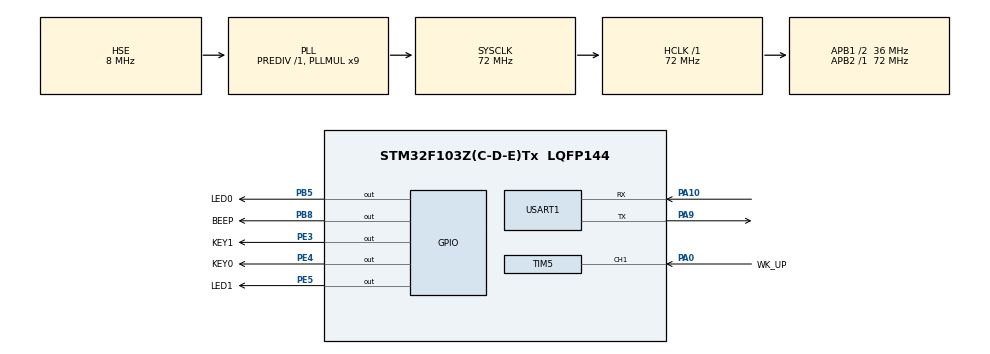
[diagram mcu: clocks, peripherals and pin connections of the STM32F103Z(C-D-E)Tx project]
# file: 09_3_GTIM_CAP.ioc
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Mcu.Family=STM32F1
Mcu.Name=STM32F103Z(C-D-E)Tx
Mcu.Package=LQFP144
NVIC.PriorityGroup=NVIC_PRIORITYGROUP_2
NVIC.TIM5_IRQn=true\:2\:1\:true\:false\:true\:true\:true\:true
NVIC.USART1_IRQn=true\:2\:2\:true\:false\:true\:true\:true\:true
OSC_IN.Mode=HSE-External-Oscillator
OSC_IN.Signal=RCC_OSC_IN
OSC_OUT.Mode=HSE-External-Oscillator
OSC_OUT.Signal=RCC_OSC_OUT
PA0-WKUP.GPIO_Label=WK_UP
PA0-WKUP.GPIO_PuPd=GPIO_PULLDOWN
PA0-WKUP.Signal=S_TIM5_CH1
PA10.Mode=Asynchronous
PA10.Signal=USART1_RX
PA13.Mode=Serial_Wire
PA13.Signal=SYS_JTMS-SWDIO
PA14.Mode=Serial_Wire
PA14.Signal=SYS_JTCK-SWCLK
PA9.Mode=Asynchronous
PA9.Signal=USART1_TX
PB5.GPIO_Label=LED0
PB5.GPIO_PuPd=GPIO_PULLUP
PB5.GPIO_Speed=GPIO_SPEED_FREQ_HIGH
PB5.PinState=GPIO_PIN_SET
PB5.Signal=GPIO_Output
PB8.GPIO_Label=BEEP
PB8.GPIO_ModeDefaultOutputPP=GPIO_MODE_OUTPUT_PP
PB8.GPIO_PuPd=GPIO_PULLDOWN
PB8.GPIO_Speed=GPIO_SPEED_FREQ_HIGH
PB8.PinState=GPIO_PIN_RESET
PB8.Signal=GPIO_Output
PC14-OSC32_IN.Mode=LSE-External-Oscillator
PC14-OSC32_IN.Signal=RCC_OSC32_IN
PC15-OSC32_OUT.Mode=LSE-External-Oscillator
PC15-OSC32_OUT.Signal=RCC_OSC32_OUT
PE3.GPIO_Label=KEY1
PE3.GPIO_PuPd=GPIO_PULLUP
PE3.GPIO_Speed=GPIO_SPEED_FREQ_HIGH
PE3.PinState=GPIO_PIN_SET
PE3.Signal=GPIO_Output
PE4.GPIO_Label=KEY0
PE4.GPIO_PuPd=GPIO_PULLUP
PE4.GPIO_Speed=GPIO_SPEED_FREQ_HIGH
PE4.PinState=GPIO_PIN_SET
PE4.Signal=GPIO_Output
PE5.GPIO_Label=LED1
PE5.GPIO_PuPd=GPIO_PULLUP
PE5.GPIO_Speed=GPIO_SPEED_FREQ_HIGH
PE5.PinState=GPIO_PIN_SET
PE5.Signal=GPIO_Output
ProjectManager.HeapSize=0x200
ProjectManager.StackSize=0x400
ProjectManager.TargetToolchain=STM32CubeIDE
RCC.AHBFreq_Value=72000000
RCC.APB1CLKDivider=RCC_HCLK_DIV2
RCC.APB1Freq_Value=36000000
RCC.APB1TimFreq_Value=72000000
RCC.APB2Freq_Value=72000000
RCC.APB2TimFreq_Value=72000000
RCC.HCLKFreq_Value=72000000
RCC.PLLMUL=RCC_PLL_MUL9
RCC.PLLSourceVirtual=RCC_PLLSOURCE_HSE
RCC.SYSCLKFreq_VALUE=72000000
RCC.SYSCLKSource=RCC_SYSCLKSOURCE_PLLCLK
RCC.USBFreq_Value=72000000
SH.S_TIM5_CH1.0=TIM5_CH1,Input_Capture1_from_TI1
TIM5.AutoReloadPreload=TIM_AUTORELOAD_PRELOAD_ENABLE
TIM5.Channel-Input_Capture1_from_TI1=TIM_CHANNEL_1
TIM5.Prescaler=72 - 1
USART1.VirtualMode=VM_ASYNC
VP_TIM5_VS_ClockSourceINT.Mode=Internal
board=custom

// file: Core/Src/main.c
/* USER CODE BEGIN Header */

/* USER CODE END Header */
#include "main.h"
#include "tim.h"
#include "usart.h"
#include "gpio.h"

/* USER CODE BEGIN Includes */
#include "../../BSP/LED/led.h"
#include "../../BSP/KEY/key.h"
#include "../../SYSTEM/delay/delay.h"
/* USER CODE END Includes */

/* USER CODE BEGIN PTD */
extern uint8_t  g_timxchy_cap_sta;  /* 输入捕获状态 */
extern uint16_t g_timxchy_cap_val;  /* 输入捕获值 */
/* USER CODE END PTD */

void SystemClock_Config(void);

int main(void)
{
  /* USER CODE BEGIN 1 */
    uint32_t temp = 0;
    uint8_t t = 0;
  /* USER CODE END 1 */

  /* MCU Configuration--------------------------------------------------------*/

  /* Reset of all peripherals, Initializes the Flash interface and the Systick. */
  HAL_Init();

  /* Configure the system clock */
  SystemClock_Config();

  /* USER CODE BEGIN SysInit */
  delay_init(72);						   	/* 初始化延时函数 */
  /* USER CODE END SysInit */

  /* Initialize all configured peripherals */
  MX_GPIO_Init();
  MX_USART1_UART_Init();
  MX_TIM5_Init();

  /* Infinite loop */
  /* USER CODE BEGIN WHILE */
  while (1)
  {
	  if (g_timxchy_cap_sta & 0X80)       	/* 成功捕获到了一次高电平 */
	  {
		  temp = g_timxchy_cap_sta & 0X3F;
		  temp *= 65536;                  	/* 溢出时间总和 */
		  temp += g_timxchy_cap_val;      	/* 得到总的高电平时间 */
		  printf("HIGH:%lu us\r\n", temp);	/* 打印总的高点平时间 */
		  g_timxchy_cap_sta = 0;          	/* 开启下一次捕获*/
	  }

	  t++;

	  if (t > 20)         					/* 200ms进入一次 */
	  {
		  t = 0;
		  LED0_TOGGLE();  					/* LED0闪烁 ,提示程序运行 */
	  }
	  delay_ms(10);

    /* USER CODE END WHILE */

  }
}

void SystemClock_Config(void)
{
  RCC_OscInitTypeDef RCC_OscInitStruct = {0};
  RCC_ClkInitTypeDef RCC_ClkInitStruct = {0};

  /** Initializes the RCC Oscillators according to the specified parameters
  * in the RCC_OscInitTypeDef structure.
  */
  RCC_OscInitStruct.OscillatorType = RCC_OSCILLATORTYPE_HSE;
  RCC_OscInitStruct.HSEState = RCC_HSE_ON;
  RCC_OscInitStruct.HSEPredivValue = RCC_HSE_PREDIV_DIV1;
  RCC_OscInitStruct.HSIState = RCC_HSI_ON;
  RCC_OscInitStruct.PLL.PLLState = RCC_PLL_ON;
  RCC_OscInitStruct.PLL.PLLSource = RCC_PLLSOURCE_HSE;
  RCC_OscInitStruct.PLL.PLLMUL = RCC_PLL_MUL9;
  if (HAL_RCC_OscConfig(&RCC_OscInitStruct) != HAL_OK)
  {
    Error_Handler();
  }

  /** Initializes the CPU, AHB and APB buses clocks
  */
  RCC_ClkInitStruct.ClockType = RCC_CLOCKTYPE_HCLK|RCC_CLOCKTYPE_SYSCLK
                              |RCC_CLOCKTYPE_PCLK1|RCC_CLOCKTYPE_PCLK2;
  RCC_ClkInitStruct.SYSCLKSource = RCC_SYSCLKSOURCE_PLLCLK;
  RCC_ClkInitStruct.AHBCLKDivider = RCC_SYSCLK_DIV1;
  RCC_ClkInitStruct.APB1CLKDivider = RCC_HCLK_DIV2;
  RCC_ClkInitStruct.APB2CLKDivider = RCC_HCLK_DIV1;

  if (HAL_RCC_ClockConfig(&RCC_ClkInitStruct, FLASH_LATENCY_2) != HAL_OK)
  {
    Error_Handler();
  }
}

void Error_Handler(void)
{
  __disable_irq();
  while (1)
  {
  }
}
